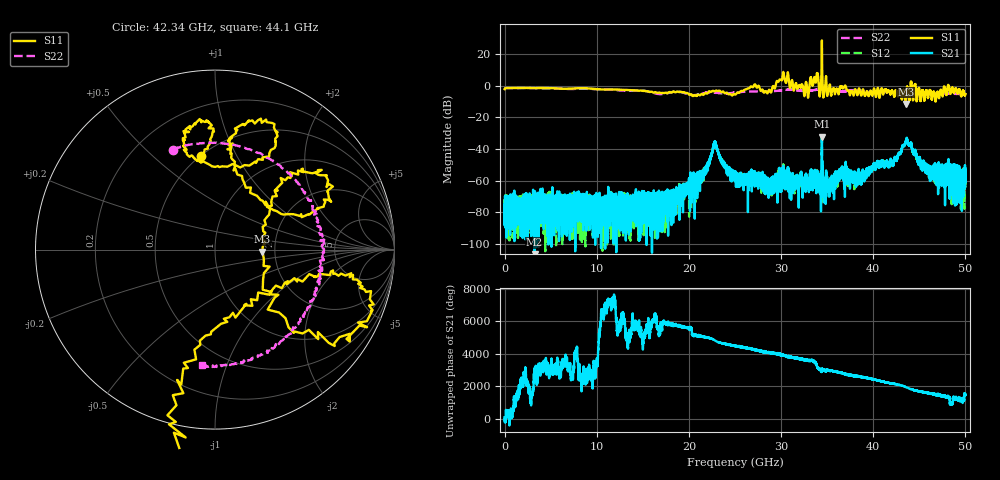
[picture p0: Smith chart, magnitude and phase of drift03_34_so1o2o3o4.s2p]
!Created with skrf (http://scikit-rf.org).
# Hz S RI R 50.0
!freq ReS11 ImS11 ReS21 ImS21 ReS12 ImS12 ReS22 ImS22
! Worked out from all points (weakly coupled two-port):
!   10000 points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, 5.3 MHz to 50 GHz, reference 50 ohm
!   highest |S21| = -32.06 dB at 34.43 GHz (marker M1); lowest = -109.2 dB at 3.26 GHz (marker M2)
!   lowest |S11| = -11.5 dB at 43.53 GHz (marker M3), VSWR 1.72, Z = 85.9 - j2.29 ohm
!   |S11| at or under -10 dB: 43.48952 GHz to 43.54471 GHz (55.19 MHz wide, 0.127 % of centre); 43.54574 GHz to 43.55537 GHz (9.634 MHz wide, 0.0221 % of centre)
!   |S22| runs from -5.9 to -1.3 dB; largest |S21 - S12| = 0.01
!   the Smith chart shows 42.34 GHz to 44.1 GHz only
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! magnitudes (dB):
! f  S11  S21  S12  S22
! 5.3 MHz  -2.1  -79.3  -81.9  -2.1
! 3.26 GHz  -1.4  -109.2  -74.3  -1.5
! 8.34 GHz  -1.5  -78.5  -71.1  -1.9
! 16.67 GHz  -4.4  -76.0  -82.6  -5.2
! 20.92 GHz  -5.9  -59.4  -58.9  -5.6
! 21.99 GHz  -4.9  -51.7  -50.9  -4.4
! 22.81 GHz  -3.4  -35.5  -35.2  -4.5
! 25.01 GHz  -5.5  -60.2  -57.3  -4.3
! 27.02 GHz  -0.3  -60.3  -57.9  -3.5
! 28.72 GHz  -2.5  -65.9  -61.0  -3.5
! 30.14 GHz  4.4  -56.9  -60.7  -2.8
! 32.74 GHz  2.0  -62.0  -60.3  -3.3
! 33.34 GHz  2.5  -56.3  -56.9  -2.9
! 33.82 GHz  4.0  -63.5  -57.0  -2.6
! 34.43 GHz  28.7  -32.1  -33.6  -2.3
! 36.47 GHz  -0.5  -54.8  -55.0  -3.6
! 38.48 GHz  -1.7  -57.2  -57.3  -3.1
! 41.67 GHz  -3.0  -50.2  -50.2  -3.7
! 43.53 GHz  -11.5  -35.4  -35.4  -4.3
! 46.25 GHz  -4.3  -59.8  -51.7  -5.7
! 49.63 GHz  -5.2  -64.3  -56.1  -5.0
! 50 GHz  -5.2  -52.2  -58.6  -4.9
